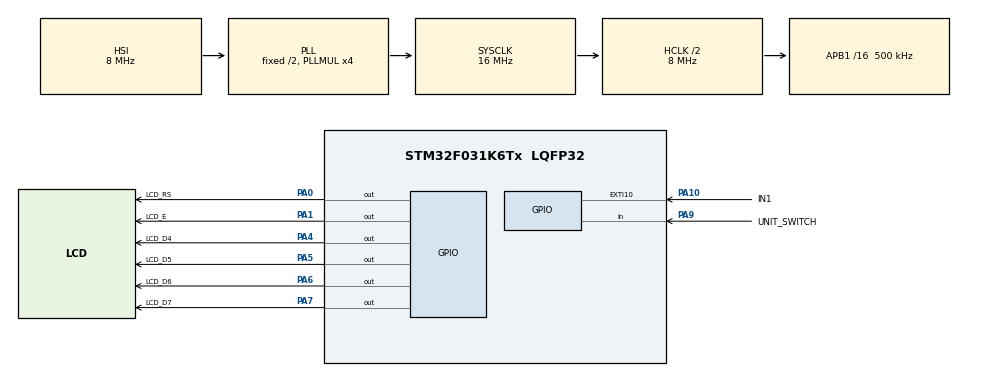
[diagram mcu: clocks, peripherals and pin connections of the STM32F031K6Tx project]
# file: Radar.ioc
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Mcu.Family=STM32F0
Mcu.Name=STM32F031K6Tx
Mcu.Package=LQFP32
NVIC.EXTI4_15_IRQn=true\:0\:0\:false\:false\:true\:true\:true\:true
PA0.GPIO_Label=LCD_RS
PA0.Signal=GPIO_Output
PA1.GPIO_Label=LCD_E
PA1.Signal=GPIO_Output
PA10.GPIO_Label=IN1
PA10.GPIO_PuPd=GPIO_PULLDOWN
PA10.Signal=GPXTI10
PA13.GPIO_Label=SWDIO
PA13.Mode=Serial_Wire
PA13.Signal=SYS_SWDIO
PA14.GPIO_Label=SWCLK
PA14.Mode=Serial_Wire
PA14.Signal=SYS_SWCLK
PA15.GPIO_Label=VCP_RX
PA15.Signal=USART1_RX
PA2.GPIO_Label=VCP_TX
PA2.Signal=USART1_TX
PA4.GPIO_Label=LCD_D4
PA4.Signal=GPIO_Output
PA5.GPIO_Label=LCD_D5
PA5.Signal=GPIO_Output
PA6.GPIO_Label=LCD_D6
PA6.Signal=GPIO_Output
PA7.GPIO_Label=LCD_D7
PA7.Signal=GPIO_Output
PA9.GPIO_Label=UNIT_SWITCH
PA9.GPIO_PuPd=GPIO_PULLUP
PA9.Signal=GPIO_Input
PF0-OSC_IN.Mode=HSE-External-Clock-Source
PF0-OSC_IN.Signal=RCC_OSC_IN
ProjectManager.HeapSize=0x200
ProjectManager.StackSize=0x400
ProjectManager.TargetToolchain=STM32CubeIDE
RCC.AHBCLKDivider=RCC_SYSCLK_DIV2
RCC.AHBFreq_Value=8000000
RCC.APB1CLKDivider=RCC_HCLK_DIV16
RCC.APB1Freq_Value=500000
RCC.APB1TimFreq_Value=1000000
RCC.HCLKFreq_Value=8000000
RCC.PLLMUL=RCC_PLL_MUL4
RCC.SYSCLKFreq_VALUE=16000000
RCC.SYSCLKSource=RCC_SYSCLKSOURCE_PLLCLK
TIM2.Period=65536-1
VP_TIM2_VS_ClockSourceINT.Mode=Internal
board=NUCLEO-F031K6

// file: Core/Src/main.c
/* USER CODE BEGIN Header */
/**
  ******************************************************************************
  * @file           : main.c
  * @brief          : Main program body
  ******************************************************************************
  * @attention
  *
  * Copyright (c) 2023 STMicroelectronics.
  * All rights reserved.
  *
  * This software is licensed under terms that can be found in the LICENSE file
  * in the root directory of this software component.
  * If no LICENSE file comes with this software, it is provided AS-IS.
  *
  ******************************************************************************
  */
/* USER CODE END Header */
#include "main.h"

/* USER CODE BEGIN Includes */
#include <stdio.h>
#include "lcd16x2.h"
/* USER CODE END Includes */

TIM_HandleTypeDef htim2;

void SystemClock_Config(void);
static void MX_GPIO_Init(void);
static void MX_TIM2_Init(void);

/* USER CODE BEGIN 0 */

// Initialisation de certaines variables
char textBuffer[60];
int textBufferLength;
int readyForCalculation = 0;

// Initialisation du timer et du compteur
uint16_t timerValue;
uint16_t newTimerValue;
uint8_t counter = 0;
int maxCounter = 10;
uint16_t timerBuffer[10];

// Fonction appelée à chaque front montant du signal
void HAL_GPIO_EXTI_Callback(uint16_t GPIO_Pin) {
	// On récupère la valeur actuelle du timer
	newTimerValue = __HAL_TIM_GET_COUNTER(&htim2);

	// On vérifie que l'interrupt a bien été déclenché par le bon pin
	if (GPIO_Pin == IN1_Pin) {
		// On calcule l'intervalle de temps entre les deux derniers front montants
		timerBuffer[counter] = newTimerValue - timerValue;
		timerValue = newTimerValue;

		if (counter >= maxCounter - 1) {
			// Le tableau timerBuffer est rempli, on indique à la boucle principale
			// qu'elle a assez de données pour effectuer à nouveau des calculs pour
			// l'affichage
			readyForCalculation = 1;

			// On réinitialise le compteur pour recommencer au début du tableau à la prochaine itération
			counter = 0;
		} else {
			counter++;
		}
	}
}

/* USER CODE END 0 */

int main(void)
{
  /* USER CODE BEGIN 1 */
  // Initialisation de certaines variables
  double measuredSpeed = 10000.0;
  int usingLastValue = 0;
  int consecutiveSkips = 10;
  int missedCalcs = 0;
  uint32_t speedIntegerPart = 0;
  uint32_t speedDecimalPart = 0;
  /* USER CODE END 1 */

  /* MCU Configuration--------------------------------------------------------*/

  /* Reset of all peripherals, Initializes the Flash interface and the Systick. */
  HAL_Init();

  /* Configure the system clock */
  SystemClock_Config();

  /* Initialize all configured peripherals */
  MX_GPIO_Init();
  MX_TIM2_Init();
  /* USER CODE BEGIN 2 */

  // Initialisation de l'afficheur LCD
  lcd16x2_init_4bits(LCD_RS_GPIO_Port, LCD_RS_Pin, LCD_E_Pin, LCD_D4_GPIO_Port, LCD_D4_Pin, LCD_D5_Pin, LCD_D6_Pin, LCD_D7_Pin);
  lcd16x2_cursorShow(0);
  lcd16x2_clear();

  // Écran de bienvenue
  lcd16x2_setCursor(0, 0);
  lcd16x2_printf("  Projet Radar  ");
  lcd16x2_setCursor(1, 0);
  lcd16x2_printf("CPP P29 - Grp D2");
  HAL_Delay(5000);
  lcd16x2_clear();

  // Initialisation du timer
  HAL_TIM_Base_Start(&htim2);
  timerValue = __HAL_TIM_GET_COUNTER(&htim2);

  /* USER CODE END 2 */

  /* Infinite loop */
  /* USER CODE BEGIN WHILE */

  // Boucle principale
  while (1)
  {
    /* USER CODE END WHILE */

    /* USER CODE BEGIN 3 */
    // On vérifie qu'on a assez de valeurs pour effectuer les calculs
	if (readyForCalculation == 1) {
		missedCalcs = 0;

		// Calcul de la période moyenne (moyenne arithmétique)
		uint32_t sum = 0;
		for (uint8_t i = 0; i < maxCounter; i++) {
			sum += timerBuffer[i];
		}
		uint32_t average = sum / maxCounter;

		// Si la période moyenne est non-nulle, on peut faire les calculs suivants
		if (average != 0) {
			// Fréquence = 1 / Période moy (en s) = 1 / Période moy (en µs) * 1e-6
			double frequency = 1.0 / (average * 1e-6);

			// Si on remarque que la nouvelle vitesse mesurée est grande devant celle mesurée à
			// l'itération précédente, on continue d'afficher la vitesse précédemment mesurée.
			if (frequency / 19.49 <= 30 * measuredSpeed /*&& frequency / 19.49 <= 120*/) {
				measuredSpeed = frequency / 19.49;

				// If angle = 45°
				//measuredSpeed = (frequency / (sqrt(2.0) * (10.525e9 / 3.0e8))) * 3.6;

				// If angle = 30°
				//measuredSpeed = (frequency / (sqrt(3.0) * (10.525e9 / 3.0e8))) * 3.6;

				// If angle = 15°
				//measuredSpeed = (frequency / (((sqrt(6.0) + sqrt(2.0)) / 2.0) * (10.525e9 / 3.0e8))) * 3.6;
				usingLastValue = 1;
				consecutiveSkips = 0;
			} else {
				consecutiveSkips += 1;
				usingLastValue = 0;
			}

			// On initialise réinitialise la position du curseur
			lcd16x2_setCursor(0, 0);

			// Si on n'utilise pas la valeur mesurée lors de cette itération, on affiche
			// une petite étoile dans le coin supérieur droit.
			if (usingLastValue == 1) {
				lcd16x2_printf("Vitesse:        ");
			} else {
				lcd16x2_printf("Vitesse:       *");
			}

			// Si le bouton est pressé, on convertit la vitesse en m/s
			GPIO_PinState pinState = HAL_GPIO_ReadPin (UNIT_SWITCH_GPIO_Port, UNIT_SWITCH_Pin);
			if (pinState == 0) {
				// On convertit le nombre décimal en deux entiers pour l'affichage
				speedIntegerPart = measuredSpeed / 3.6;
				speedDecimalPart = (measuredSpeed / 3.6) * 1000 - 1000 * speedIntegerPart;
				textBufferLength = sprintf(textBuffer, "     %.3lu.%.3lu m/s", speedIntegerPart, speedDecimalPart);
			} else {
				// On convertit le nombre décimal en deux entiers pour l'affichage
				speedIntegerPart = measuredSpeed;
				speedDecimalPart = measuredSpeed * 1000 - 1000 * speedIntegerPart;
				textBufferLength = sprintf(textBuffer, "     %.2lu.%.3lu km/h", speedIntegerPart, speedDecimalPart);
			}

			// On affiche le résultat sur l'écran
			lcd16x2_setCursor(1, 0);
			lcd16x2_printf(textBuffer);
		}

		// Réinitialisation du tableau TimerBuffer
		for (uint8_t i = 0; i < maxCounter; i++) {
			timerBuffer[i] = 0;
		}

		// On indique qu'on n'est pas prêt pour la prochaine itération de l'affichage
		readyForCalculation = 0;
		counter = 0;
	} else {
		// Si la moyenne est nulle, on continue d'afficher la dernière mesure pendant 2.5 secondes
		// (sauf si celle-ci est supérieure à 100 km/h, notre radar n'étant en principe pas prévu
		// pour des utilisations avec des vitesses aussi élevées, une telle vitesse serait sans doute
		// liée à la présence de bruit dans le signal)
		if (consecutiveSkips > 2 && consecutiveSkips < 7 && measuredSpeed < 100) {
			lcd16x2_setCursor(0, 0);
			lcd16x2_printf("Derniere mesure:");

		} else if (consecutiveSkips >= 7 || measuredSpeed >= 100) {
			lcd16x2_setCursor(0, 0);
			lcd16x2_printf("                ");
			lcd16x2_setCursor(1, 0);
			lcd16x2_printf("Aucun signal !  ");
		}

		consecutiveSkips++;

		missedCalcs++;
		// Si on a loupé plus de 4 calculs (2s), on réinitialise toutes les valeurs précédemment mesurées
		if (missedCalcs > 4) {
			missedCalcs = 0;
			// Réinitialisation du tableau TimerBuffer
			for (uint8_t i = 0; i < maxCounter; i++) {
				timerBuffer[i] = 0;
			}

			if (counter > 0) {
				lcd16x2_setCursor(0, 15);
				lcd16x2_printf(">");
			}

			// On indique qu'on n'est pas prêt pour la prochaine itération de l'affichage
			readyForCalculation = 0;
			counter = 0;

			// DEBUG
			//lcd16x2_setCursor(0, 15);
			//lcd16x2_printf("R");
		}
	}

	// On itère sur cette boucle toutes les 500ms
	HAL_Delay(500);
  }
  /* USER CODE END 3 */
}

void SystemClock_Config(void)
{
  RCC_OscInitTypeDef RCC_OscInitStruct = {0};
  RCC_ClkInitTypeDef RCC_ClkInitStruct = {0};

  /** Initializes the RCC Oscillators according to the specified parameters
  * in the RCC_OscInitTypeDef structure.
  */
  RCC_OscInitStruct.OscillatorType = RCC_OSCILLATORTYPE_HSI;
  RCC_OscInitStruct.HSIState = RCC_HSI_ON;
  RCC_OscInitStruct.HSICalibrationValue = RCC_HSICALIBRATION_DEFAULT;
  RCC_OscInitStruct.PLL.PLLState = RCC_PLL_ON;
  RCC_OscInitStruct.PLL.PLLSource = RCC_PLLSOURCE_HSI;
  RCC_OscInitStruct.PLL.PLLMUL = RCC_PLL_MUL4;
  RCC_OscInitStruct.PLL.PREDIV = RCC_PREDIV_DIV1;
  if (HAL_RCC_OscConfig(&RCC_OscInitStruct) != HAL_OK)
  {
    Error_Handler();
  }

  /** Initializes the CPU, AHB and APB buses clocks
  */
  RCC_ClkInitStruct.ClockType = RCC_CLOCKTYPE_HCLK|RCC_CLOCKTYPE_SYSCLK
                              |RCC_CLOCKTYPE_PCLK1;
  RCC_ClkInitStruct.SYSCLKSource = RCC_SYSCLKSOURCE_PLLCLK;
  RCC_ClkInitStruct.AHBCLKDivider = RCC_SYSCLK_DIV2;
  RCC_ClkInitStruct.APB1CLKDivider = RCC_HCLK_DIV16;

  if (HAL_RCC_ClockConfig(&RCC_ClkInitStruct, FLASH_LATENCY_0) != HAL_OK)
  {
    Error_Handler();
  }
}

static void MX_TIM2_Init(void)
{

  TIM_ClockConfigTypeDef sClockSourceConfig = {0};
  TIM_MasterConfigTypeDef sMasterConfig = {0};

  htim2.Instance = TIM2;
  htim2.Init.Prescaler = 0;
  htim2.Init.CounterMode = TIM_COUNTERMODE_UP;
  htim2.Init.Period = 65536-1;
  htim2.Init.ClockDivision = TIM_CLOCKDIVISION_DIV1;
  htim2.Init.AutoReloadPreload = TIM_AUTORELOAD_PRELOAD_DISABLE;
  if (HAL_TIM_Base_Init(&htim2) != HAL_OK)
  {
    Error_Handler();
  }
  sClockSourceConfig.ClockSource = TIM_CLOCKSOURCE_INTERNAL;
  if (HAL_TIM_ConfigClockSource(&htim2, &sClockSourceConfig) != HAL_OK)
  {
    Error_Handler();
  }
  sMasterConfig.MasterOutputTrigger = TIM_TRGO_RESET;
  sMasterConfig.MasterSlaveMode = TIM_MASTERSLAVEMODE_DISABLE;
  if (HAL_TIMEx_MasterConfigSynchronization(&htim2, &sMasterConfig) != HAL_OK)
  {
    Error_Handler();
  }

}

static void MX_GPIO_Init(void)
{
  GPIO_InitTypeDef GPIO_InitStruct = {0};

  /* GPIO Ports Clock Enable */
  __HAL_RCC_GPIOF_CLK_ENABLE();
  __HAL_RCC_GPIOA_CLK_ENABLE();

  /*Configure GPIO pin Output Level */
  HAL_GPIO_WritePin(GPIOA, LCD_RS_Pin|LCD_E_Pin|LCD_D4_Pin|LCD_D5_Pin
                          |LCD_D6_Pin|LCD_D7_Pin, GPIO_PIN_RESET);

  /*Configure GPIO pins : LCD_RS_Pin LCD_E_Pin LCD_D4_Pin LCD_D5_Pin
                           LCD_D6_Pin LCD_D7_Pin */
  GPIO_InitStruct.Pin = LCD_RS_Pin|LCD_E_Pin|LCD_D4_Pin|LCD_D5_Pin
                          |LCD_D6_Pin|LCD_D7_Pin;
  GPIO_InitStruct.Mode = GPIO_MODE_OUTPUT_PP;
  GPIO_InitStruct.Pull = GPIO_NOPULL;
  GPIO_InitStruct.Speed = GPIO_SPEED_FREQ_LOW;
  HAL_GPIO_Init(GPIOA, &GPIO_InitStruct);

  /*Configure GPIO pins : VCP_TX_Pin VCP_RX_Pin */
  GPIO_InitStruct.Pin = VCP_TX_Pin|VCP_RX_Pin;
  GPIO_InitStruct.Mode = GPIO_MODE_AF_PP;
  GPIO_InitStruct.Pull = GPIO_NOPULL;
  GPIO_InitStruct.Speed = GPIO_SPEED_FREQ_HIGH;
  GPIO_InitStruct.Alternate = GPIO_AF1_USART1;
  HAL_GPIO_Init(GPIOA, &GPIO_InitStruct);

  /*Configure GPIO pin : UNIT_SWITCH_Pin */
  GPIO_InitStruct.Pin = UNIT_SWITCH_Pin;
  GPIO_InitStruct.Mode = GPIO_MODE_INPUT;
  GPIO_InitStruct.Pull = GPIO_PULLUP;
  HAL_GPIO_Init(UNIT_SWITCH_GPIO_Port, &GPIO_InitStruct);

  /*Configure GPIO pin : IN1_Pin */
  GPIO_InitStruct.Pin = IN1_Pin;
  GPIO_InitStruct.Mode = GPIO_MODE_IT_RISING;
  GPIO_InitStruct.Pull = GPIO_PULLDOWN;
  HAL_GPIO_Init(IN1_GPIO_Port, &GPIO_InitStruct);

  /* EXTI interrupt init*/
  HAL_NVIC_SetPriority(EXTI4_15_IRQn, 0, 0);
  HAL_NVIC_EnableIRQ(EXTI4_15_IRQn);

}

void Error_Handler(void)
{
  __disable_irq();
  while (1)
  {
  }
}
